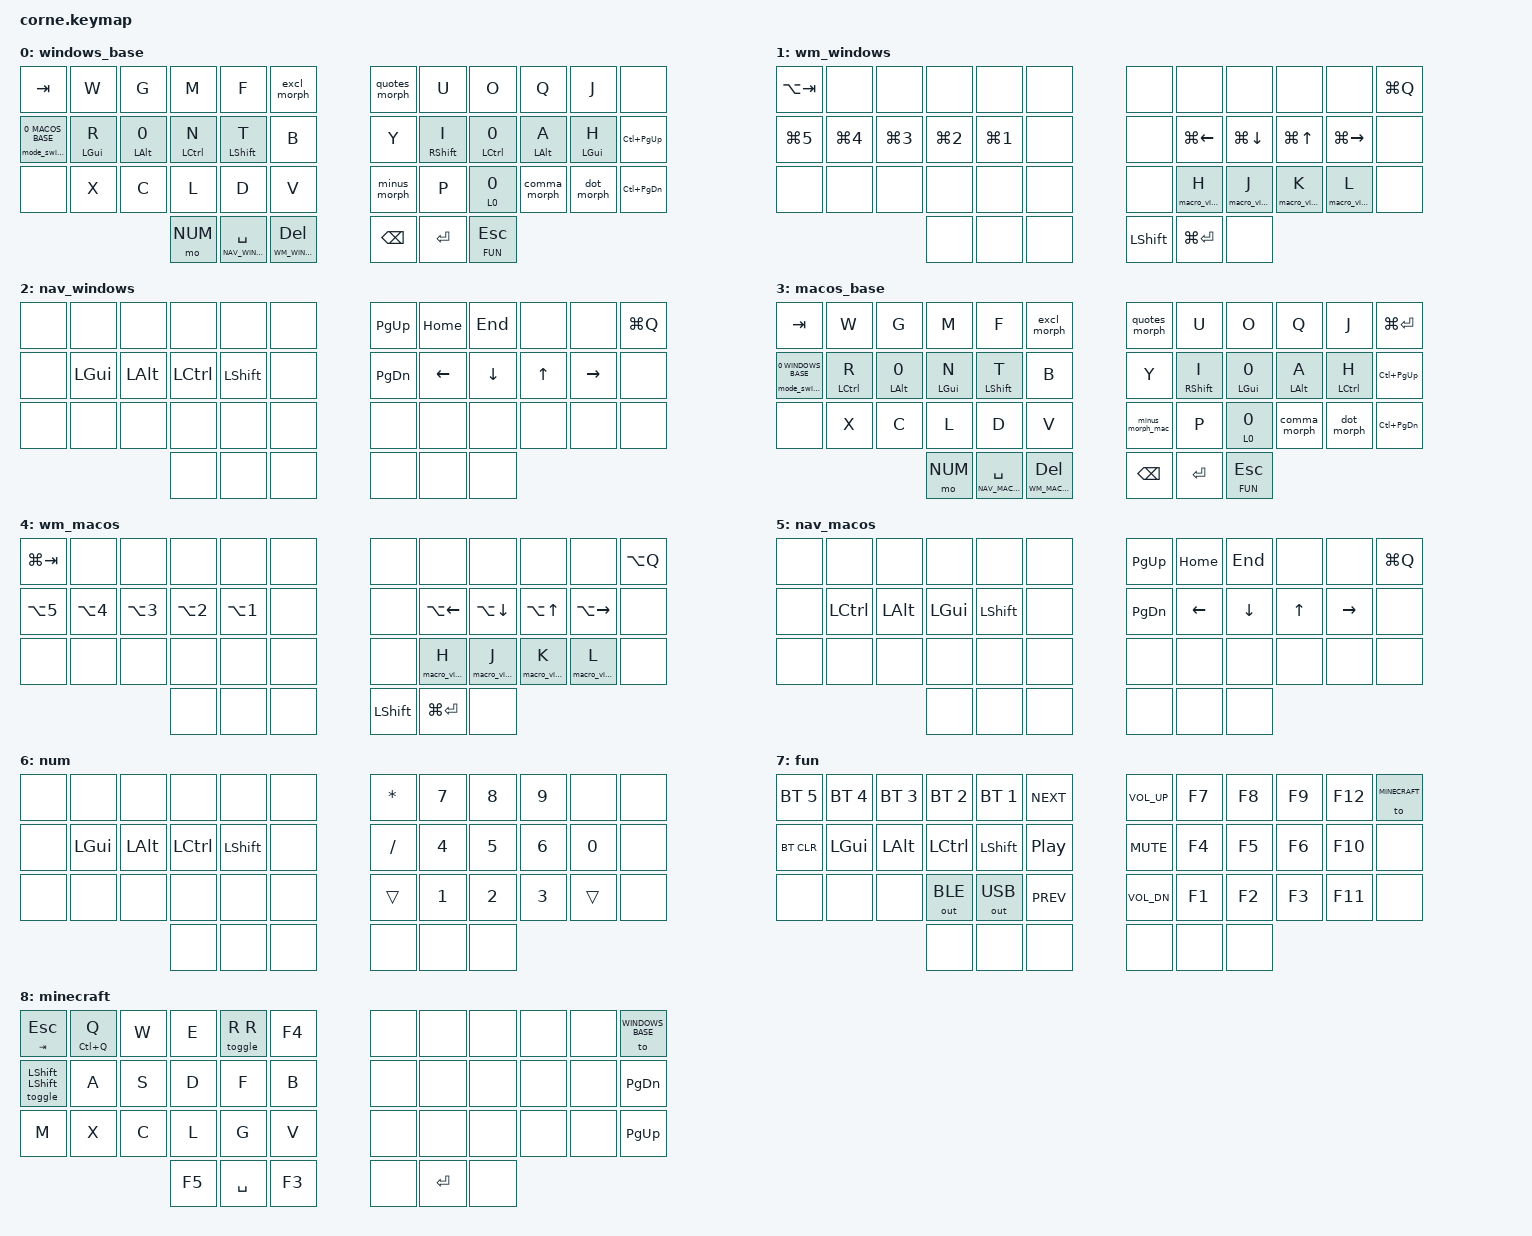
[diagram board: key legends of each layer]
/*
 * Copyright (c) 2020 The ZMK Contributors
 *
 * SPDX-License-Identifier: MIT
 */
// https://github.com/urob/zmk-config#timeless-homerow-mods
// troubleshooting : https://github.com/urob/zmk-config#troubleshooting

#include <behaviors.dtsi>
#include <dt-bindings/zmk/keys.h>
#include "accents.dtsi"
#include "keys_fr.h"
#include "zmk-helpers/helper.h"
#include "zmk-helpers/key-labels/42.h"
#include "zmk-helpers/unicode-chars/french.dtsi"
#include <dt-bindings/zmk/bt.h>
#define _BT_SEL_KEYS_ &bt BT_SEL 0 &bt BT_SEL 1 &bt BT_SEL 2 &bt BT_SEL 3 &bt BT_CLR
#include <dt-bindings/zmk/rgb.h>
#include <dt-bindings/zmk/ext_power.h>
#include <dt-bindings/zmk/outputs.h>
#include <../boards/shields/corne/boards/nice_nano.overlay>

// Overwrite number of leds on the keyboard. A Corne has 27 per side.
&led_strip { chain-length = <27>; };

#define WINDOWS_BASE 0
#define WM_WINDOWS 1
#define NAV_WINDOWS 2
#define MACOS_BASE 3
#define WM_MACOS 4
#define NAV_MACOS 5
#define NUM 6
#define FUN 7
#define MINECRAFT 8


#define XXX &none
#define ___ &trans
#define MACOS_GRAVE NUBS
#define MACOS_NUBS GRAVE

/* Global settings */

#define QUICK_TAP_MS 175

ZMK_BEHAVIOR(ht, hold_tap,
    flavor = "balanced";
    tapping-term-ms = <200>;
    quick-tap-ms = <QUICK_TAP_MS>;
    bindings = <&kp>, <&kp>;
)

// reuse basic mod-morph scheme
#define SIMPLE_MORPH(NAME, MOD, BINDING1, BINDING2) \
    ZMK_BEHAVIOR(NAME, mod_morph, \
        mods = <(MOD_L ## MOD|MOD_R ## MOD)>; \
        bindings = <BINDING1>, <BINDING2>; \
    )
//tap: / | shift + tap: |  | ctrl + tap: "\"

SIMPLE_MORPH(slh_inner_morph, CTL, &kp PIPE, &kp BSLH)
ZMK_BEHAVIOR(slh_morph, mod_morph,
    mods = <(MOD_LCTL|MOD_RCTL|MOD_LSFT|MOD_RSFT)>; \
    bindings = <&kp FSLH>, <&slh_inner_morph>; \
)

// tap: question mark | shift + tap : exclamation
SIMPLE_MORPH(excl_morph, SFT, &kp QMARK, &kp EXCL)

// tap: ' | shift + tap: "
ZMK_BEHAVIOR(macro_sqt, macro,
    tap-ms = <10>;
    bindings = <&macro_tap &kp SQT &kp SPACE>;
)ZMK_BEHAVIOR(macro_dqt, macro,
    tap-ms = <10>;
    bindings = <&macro_tap &kp DQT &kp SPACE>;
)
ZMK_BEHAVIOR(macro_bqt_win, macro,
    tap-ms = <10>;
    bindings = <&macro_tap &kp GRAVE &kp SPACE>;
)
ZMK_BEHAVIOR(macro_bqt_mac, macro,
    tap-ms = <10>;
    bindings = <&macro_tap &kp MACOS_GRAVE &kp SPACE>;
)

// macOS accent macros
ZMK_BEHAVIOR(macro_eacu_mac, macro,
    tap-ms = <10>;
    bindings = <&macro_tap &kp SQT &kp E>;
)

ZMK_BEHAVIOR(macro_egrv_mac, macro,
    tap-ms = <10>;
    bindings = <&macro_tap &kp MACOS_GRAVE &kp E>;
)

ZMK_BEHAVIOR(macro_agrv_mac, macro,
    tap-ms = <10>;
    bindings = <&macro_tap &kp MACOS_GRAVE &kp A>;
)

ZMK_BEHAVIOR(macro_ugrv_mac, macro,
    tap-ms = <10>;
    bindings = <&macro_tap &kp MACOS_GRAVE &kp U>;
)

ZMK_BEHAVIOR(macro_cced_mac, macro,
    tap-ms = <10>;
    bindings = <&macro_tap &kp LA(C)>;
)

ZMK_BEHAVIOR(macro_tilde_mac, macro,
    tap-ms = <10>;
    bindings = <&macro_tap &kp MACOS_GRAVE &kp SPACE>;
)

SIMPLE_MORPH(quotes_morph, SFT, &macro_sqt, &macro_dqt)

// tap: S | alt + tap: $
SIMPLE_MORPH(s_morph, ALT, &kp S, &kp DOLLAR)

// tap: E | alt + tap: € (Windows)
SIMPLE_MORPH(e_morph, ALT, &kp E, &kp US_EURO)

// tap: E | alt + tap: € (macOS using Option+Shift+2)
SIMPLE_MORPH(e_morph_mac, ALT, &kp E, &kp RA(LS(N2)))

// tap: comma | shift + tap: semicolon
SIMPLE_MORPH(comma_morph, SFT, &kp COMMA, &kp SEMICOLON)

// tap: dot | shift + tap: colon
SIMPLE_MORPH(dot_morph, SFT, &kp DOT, &kp COLON)

// tap : () | shift + tap : {} | ctrl + tap : []
SIMPLE_MORPH(all_paro1, ALT, &kp LBRC, &kp LBKT)
ZMK_BEHAVIOR(all_paro, mod_morph,
    mods = <(MOD_LALT|MOD_RALT|MOD_LSFT|MOD_RSFT)>; \
    bindings = <&kp LPAR>, <&all_paro1>; \
)
SIMPLE_MORPH(all_parf1, ALT, &kp RBRC, &kp RBKT)
ZMK_BEHAVIOR(all_parf, mod_morph,
    mods = <(MOD_LALT|MOD_RALT|MOD_LSFT|MOD_RSFT)>; \
    bindings = <&kp RPAR>, <&all_parf1>; \
)
// hold : parenthesis close | tap : parenthesis open
ZMK_BEHAVIOR(ht_par, hold_tap,
    flavor = "balanced";
    tapping-term-ms = <280>;
    quick-tap-ms = <QUICK_TAP_MS>;
    bindings = <&all_parf>, <&all_paro>;
)

// hold : CAPS | tap : caps_word
ZMK_BEHAVIOR(ht_caps, hold_tap,
    flavor = "balanced";
    tapping-term-ms = <280>;
    quick-tap-ms = <QUICK_TAP_MS>;
    bindings = <&kp>, <&caps_word>;
)

// Windows-specific combos
ZMK_COMBO(cut_win, &kp LC(X), LB4 LB2, WINDOWS_BASE WM_WINDOWS NAV_WINDOWS NUM FUN MINECRAFT)
ZMK_COMBO(copy_win, &kp LC(C), LB4 LB3, WINDOWS_BASE WM_WINDOWS NAV_WINDOWS NUM FUN MINECRAFT)
ZMK_COMBO(paste_win, &kp LC(V), LB3 LB2, WINDOWS_BASE WM_WINDOWS NAV_WINDOWS NUM FUN MINECRAFT)
ZMK_COMBO(undo_win, &kp LC(Z), LB4 LB1, WINDOWS_BASE WM_WINDOWS NAV_WINDOWS NUM FUN MINECRAFT)
ZMK_COMBO(redo_win, &kp LC(Y), LB4 LB0, WINDOWS_BASE WM_WINDOWS NAV_WINDOWS NUM FUN MINECRAFT)
ZMK_COMBO(save_win, &kp LC(S), LM1 LM0, WINDOWS_BASE WM_WINDOWS NAV_WINDOWS NUM FUN MINECRAFT)
ZMK_COMBO(select_all_win, &kp LC(A), LM3 LM4, WINDOWS_BASE WM_WINDOWS NAV_WINDOWS NUM FUN MINECRAFT)
ZMK_COMBO(replace_win, &kp LC(H), LT1 LT2, WINDOWS_BASE WM_WINDOWS NAV_WINDOWS NUM FUN MINECRAFT)

// macOS-specific combos
ZMK_COMBO(cut_mac, &kp LG(X), LB4 LB2, MACOS_BASE WM_MACOS NAV_MACOS)
ZMK_COMBO(copy_mac, &kp LG(C), LB4 LB3, MACOS_BASE WM_MACOS NAV_MACOS)
ZMK_COMBO(paste_mac, &kp LG(V), LB3 LB2, MACOS_BASE WM_MACOS NAV_MACOS)
ZMK_COMBO(undo_mac, &kp LG(Z), LB4 LB1, MACOS_BASE WM_MACOS NAV_MACOS)
ZMK_COMBO(redo_mac, &kp LG(Y), LB4 LB0, MACOS_BASE WM_MACOS NAV_MACOS)
ZMK_COMBO(save_mac, &kp LG(S), LM1 LM0, MACOS_BASE WM_MACOS NAV_MACOS)
ZMK_COMBO(select_all_mac, &kp LG(A), LM3 LM4, MACOS_BASE WM_MACOS NAV_MACOS)

// Shared combos
ZMK_COMBO(caps, &ht_caps CAPS 0, LM1 RM1, ALL)


// tap: < | shift + tap: > | hold: <>
SIMPLE_MORPH(chevrons_morph, SFT, &kp LT, &kp GT)
ZMK_BEHAVIOR(macro_chevrons, macro,
    tap-ms = <10>;
    bindings = <&macro_tap &kp LT &kp GT &kp LEFT>;
)
ZMK_BEHAVIOR(ht_chevrons_morph, hold_tap,
    flavor = "balanced";
    tapping-term-ms = <280>;
    quick-tap-ms = <QUICK_TAP_MS>;
    bindings = <&macro_chevrons>, <&chevrons_morph>;
)
ZMK_COMBO(chevrons, &ht_chevrons_morph 0 0, RB3 RB4, ALL)
ZMK_COMBO(slash, &slh_morph, LT1 LT0, ALL)
ZMK_COMBO(star, &kp STAR, RB0 RB4, ALL)
ZMK_COMBO(at, &kp AT, LM1 RM3, ALL)
ZMK_COMBO(hash, &kp HASH, RB2 RB3, ALL)
ZMK_COMBO(prc, &kp PERCENT, RB1 RB2, ALL)
ZMK_COMBO(and, &kp AMPS, LM1 RM2, ALL)

// tap: = | hold: !=
ZMK_BEHAVIOR(macro_diff, macro,
    tap-ms = <10>;
    bindings = <&macro_tap &kp EXCL &kp EQUAL>;
)
ZMK_BEHAVIOR(ht_equal, hold_tap,
    flavor = "balanced";
    tapping-term-ms = <280>;
    quick-tap-ms = <QUICK_TAP_MS>;
    bindings = <&macro_diff>, <&kp>;
)
ZMK_COMBO(equal_diff, &ht_equal 0 EQUAL, RB0 RB1, ALL)
// Windows-specific accents
ZMK_COMBO(eacu_win, &kp US_EACU, RM1 RM2, WINDOWS_BASE WM_WINDOWS NAV_WINDOWS NUM FUN MINECRAFT)
ZMK_COMBO(egrv_win, &ac_egrv, RM2 RM3, WINDOWS_BASE WM_WINDOWS NAV_WINDOWS NUM FUN MINECRAFT)
ZMK_COMBO(ecir_win, &ac_ecir, RT2 RM2, WINDOWS_BASE WM_WINDOWS NAV_WINDOWS NUM FUN MINECRAFT)
ZMK_COMBO(agrv_win, &ac_agrv, RT2 RM3, WINDOWS_BASE WM_WINDOWS NAV_WINDOWS NUM FUN MINECRAFT)
ZMK_COMBO(cced_win, &kp US_CCED, LM3 LM2, WINDOWS_BASE WM_WINDOWS NAV_WINDOWS NUM FUN MINECRAFT)
ZMK_COMBO(combo_u_grave_win, &ac_ugrv, RT0 RT1, WINDOWS_BASE WM_WINDOWS NAV_WINDOWS NUM FUN MINECRAFT)
ZMK_COMBO(combo_dqt_win, &macro_bqt_win, RT0 RM0, WINDOWS_BASE WM_WINDOWS NAV_WINDOWS NUM FUN MINECRAFT)  // ' + Y for `

// macOS-specific accents
ZMK_COMBO(eacu_mac, &macro_eacu_mac, RM1 RM2, MACOS_BASE WM_MACOS NAV_MACOS)
ZMK_COMBO(egrv_mac, &macro_egrv_mac, RM2 RM3, MACOS_BASE WM_MACOS NAV_MACOS)
ZMK_COMBO(ecir_mac, &ac_ecir, RT2 RM2, MACOS_BASE WM_MACOS NAV_MACOS)  // Keep existing for ê
ZMK_COMBO(agrv_mac, &macro_agrv_mac, RT2 RM3, MACOS_BASE WM_MACOS NAV_MACOS)
ZMK_COMBO(cced_mac, &macro_cced_mac, LM3 LM2, MACOS_BASE WM_MACOS NAV_MACOS)
ZMK_COMBO(combo_u_grave_mac, &macro_ugrv_mac, RT0 RT1, MACOS_BASE WM_MACOS NAV_MACOS)
ZMK_COMBO(combo_dqt_mac, &macro_bqt_mac, RT0 RM0, MACOS_BASE WM_MACOS NAV_MACOS)  // ' + Y for `

// Shared combos
ZMK_COMBO(circ, &kp CARET, LB2 LB1, ALL)
ZMK_COMBO(trema, &kp DQT, LM2 LM1, ALL)
ZMK_COMBO(combo_k, &kp K, RT2 RT3, ALL)  // O + Q for K
ZMK_COMBO(combo_z, &kp Z, RM3 RM4, ALL)  // A + H for Z

// left-hand keys
#define KEYS_L LT0 LT1 LT2 LT3 LT4 LT5 LM0 LM1 LM2 LM3 LM4 LM5 LB0 LB1 LB2 LB3 LB4 LB5 
// right-hand keys
#define KEYS_R RT0 RT1 RT2 RT3 RT4 RT5 RM0 RM1 RM2 RM3 RM4 RM5 RB0 RB1 RB2 RB3 RB4 RB5  
// thumb keys
#define THUMBS LH2 LH1 LH0 RH0 RH1 RH2                                      


#define MAKE_HRM(NAME, HOLD, TAP, TRIGGER_POS) \
    ZMK_BEHAVIOR(NAME, hold_tap, \
        flavor = "balanced"; \
        tapping-term-ms = <280>; \
        quick-tap-ms = <QUICK_TAP_MS>; \
        require-prior-idle-ms = <150>; \
        bindings = <HOLD>, <TAP>; \
        hold-trigger-key-positions = <TRIGGER_POS>; \
        hold-trigger-on-release; \
    )

// left-hand HRMs
MAKE_HRM(hml, &kp, &kp, KEYS_R THUMBS)

// right-hand HRMs
MAKE_HRM(hmr, &kp, &kp, KEYS_L THUMBS)

MAKE_HRM(hml_s, &kp, &s_morph, KEYS_R THUMBS)
MAKE_HRM(hmr_e, &kp, &e_morph, KEYS_L THUMBS)

// macOS version for E key (euro symbol)
MAKE_HRM(hmr_e_mac, &kp, &e_morph_mac, KEYS_L THUMBS)

// tap: minus | alt + tap: tilde
SIMPLE_MORPH(minus_morph, ALT, &kp MINUS, &kp TILDE)

// macOS version: minus | alt + tap: tilde via Option+N+Space
SIMPLE_MORPH(minus_morph_mac, ALT, &kp MINUS, &macro_tilde_mac)

ZMK_BEHAVIOR(lt_cstm, hold_tap,
    flavor = "balanced";
    tapping-term-ms = <200>;
    quick-tap-ms = <QUICK_TAP_MS>;
    bindings = <&mo>, <&kt>;
)

ZMK_BEHAVIOR(macro_vimw_win, macro_one_param,
    wait-ms = <100>;
    tap-ms = <5>;
    bindings = <&kp LC(W)>, <&macro_param_1to1>, <&kp MACRO_PLACEHOLDER>;
)

ZMK_BEHAVIOR(macro_vimw_mac, macro_one_param,
    wait-ms = <100>;
    tap-ms = <5>;
    bindings = <&kp LC(W)>, <&macro_param_1to1>, <&kp MACRO_PLACEHOLDER>;
)

ZMK_BEHAVIOR(macro_mode_windows, macro,
    tap-ms = <10>;
    bindings = <&macro_tap &kp W &kp I &kp N &kp D &kp O &kp W &kp S>;
)

ZMK_BEHAVIOR(macro_mode_macos, macro,
    tap-ms = <10>;
    bindings = <&macro_tap &kp M &kp A &kp C &kp O &kp S>;
)

ZMK_BEHAVIOR(mode_switch_windows, hold_tap,
    flavor = "balanced";
    tapping-term-ms = <280>;
    quick-tap-ms = <QUICK_TAP_MS>;
    bindings = <&macro_mode_windows>, <&to>;
)

ZMK_BEHAVIOR(mode_switch_macos, hold_tap,
    flavor = "balanced";
    tapping-term-ms = <280>;
    quick-tap-ms = <QUICK_TAP_MS>;
    bindings = <&macro_mode_macos>, <&to>;
)


ZMK_LAYER(windows_base,
//╭───────────────────────────┬─────────────┬─────────────┬─────────────┬─────────────┬─────────────╮ ╭─────────────┬─────────────┬─────────────┬─────────────┬─────────────┬─────────────╮
    &kp TAB                       &kp W         &kp G         &kp M         &kp F      &excl_morph     &quotes_morph   &kp U         &kp O         &kp Q         &kp J        XXX
//├───────────────────────────┼─────────────┼─────────────┼─────────────┼─────────────┼─────────────┤ ├─────────────┼─────────────┼─────────────┼─────────────┼─────────────┼─────────────┤
    &mode_switch_windows 0 MACOS_BASE &hml LGUI R   &hml_s LALT 0   &hml LCTRL N  &hml LSHFT T   &kp B        &kp Y         &hmr RSHFT I  &hmr_e LCTRL 0  &hmr LALT A  &hmr LGUI H  &kp LC(PG_UP)
//├───────────────────────────┼─────────────┼─────────────┼─────────────┼─────────────┼─────────────┤ ├─────────────┼─────────────┼─────────────┼─────────────┼─────────────┼─────────────┤
    XXX                          &kp X         &kp C         &kp L         &kp D         &kp V           &minus_morph    &kp P     &ht_par 0 0    &comma_morph  &dot_morph    &kp LC(PG_DN)
//╰───────────────────────────┴─────────────┴─────────────┼─────────────┼─────────────┼─────────────┤ ├─────────────┼─────────────┼─────────────┼─────────────┴─────────────┴─────────────╯
                                                               &mo NUM    &lt NAV_WINDOWS SPACE &lt WM_WINDOWS DEL      &kp BSPC     &kp RET       &lt FUN ESC                                            
//                                                        ╰─────────────┴─────────────┴─────────────╯ ╰─────────────┴─────────────┴─────────────╯                                          
)
ZMK_LAYER(wm_windows,
//╭─────────────┬─────────────┬─────────────┬─────────────┬─────────────┬─────────────╮ ╭─────────────┬─────────────┬─────────────┬─────────────┬─────────────┬─────────────╮
    &kp LA(TAB)   XXX           XXX           XXX           XXX            XXX             XXX           XXX           XXX           XXX           XXX             &kp LG(Q)
//├─────────────┼─────────────┼─────────────┼─────────────┼─────────────┼─────────────┤ ├─────────────┼─────────────┼─────────────┼─────────────┼─────────────┼─────────────┤
    &kp LG(N5)    &kp LG(N4)    &kp LG(N3)    &kp LG(N2)    &kp LG(N1)     XXX             XXX          &kp LG(LEFT)  &kp LG(DOWN)  &kp LG(UP)    &kp LG(RIGHT)   XXX
//├─────────────┼─────────────┼─────────────┼─────────────┼─────────────┼─────────────┤ ├─────────────┼─────────────┼─────────────┼─────────────┼─────────────┼─────────────┤
    XXX           XXX           XXX           XXX           XXX           XXX             XXX          &macro_vimw_win H &macro_vimw_win J &macro_vimw_win K &macro_vimw_win L XXX       
//╰─────────────┴─────────────┴─────────────┼─────────────┼─────────────┼─────────────┤ ├─────────────┼─────────────┼─────────────┼─────────────┴─────────────┴─────────────╯
                                              XXX           XXX           XXX            &kp LSHIFT     &kp LG(RET)         XXX                                              
//                                          ╰─────────────┴─────────────┴─────────────╯ ╰─────────────┴─────────────┴─────────────╯                                          
)

ZMK_LAYER(nav_windows,
//╭─────────────┬─────────────┬─────────────┬─────────────┬─────────────┬─────────────╮ ╭─────────────┬─────────────┬─────────────┬─────────────┬─────────────┬─────────────╮
    XXX           XXX           XXX           XXX           XXX           XXX             &kp PG_UP     &kp HOME      &kp END       XXX           XXX             &kp LG(Q) 
//├─────────────┼─────────────┼─────────────┼─────────────┼─────────────┼─────────────┤ ├─────────────┼─────────────┼─────────────┼─────────────┼─────────────┼─────────────┤
    XXX          &kp LGUI       &kp LALT     &kp LCTRL     &kp LSHIFT     XXX             &kp PG_DN    &kp LEFT       &kp DOWN      &kp UP        &kp RIGHT      XXX  
//├─────────────┼─────────────┼─────────────┼─────────────┼─────────────┼─────────────┤ ├─────────────┼─────────────┼─────────────┼─────────────┼─────────────┼─────────────┤
    XXX           XXX           XXX           XXX           XXX           XXX             XXX           XXX           XXX           XXX           XXX           XXX       
//╰─────────────┼─────────────┴─────────────┼─────────────┼─────────────┼─────────────┤ ├─────────────┼─────────────┼─────────────┼─────────────┴─────────────┴─────────────╯
                                              XXX           XXX           XXX             XXX           XXX           XXX
//                                          ╰─────────────┴─────────────┴─────────────╯ ╰─────────────┴─────────────┴─────────────╯
)


ZMK_LAYER(macos_base,
//╭─────────────────────────────┬─────────────┬─────────────┬─────────────┬─────────────┬─────────────╮ ╭─────────────┬─────────────┬─────────────┬─────────────┬─────────────┬─────────────╮
    &kp TAB                      &kp W         &kp G         &kp M         &kp F         &excl_morph     &quotes_morph   &kp U         &kp O         &kp Q         &kp J        &kp LG(RET)
//├─────────────────────────────┼─────────────┼─────────────┼─────────────┼─────────────┼─────────────┤ ├─────────────┼─────────────┼─────────────┼─────────────┼─────────────┼─────────────┤
    &mode_switch_macos 0 WINDOWS_BASE &hml LCTRL R   &hml_s LALT 0   &hml LGUI N  &hml LSHFT T   &kp B    &kp Y         &hmr RSHFT I  &hmr_e_mac LGUI 0  &hmr LALT A  &hmr LCTRL H  &kp LC(PG_UP)
//├─────────────────────────────┼─────────────┼─────────────┼─────────────┼─────────────┼─────────────┤ ├─────────────┼─────────────┼─────────────┼─────────────┼─────────────┼─────────────┤
    XXX                           &kp X         &kp C         &kp L         &kp D         &kp V           &minus_morph_mac    &kp P     &ht_par 0 0    &comma_morph  &dot_morph    &kp LC(PG_DN)
//╰─────────────────────────────┼─────────────┴─────────────┼─────────────┼─────────────┼─────────────┤ ├─────────────┼─────────────┼─────────────┼─────────────┴─────────────┴─────────────╯
                                                              &mo NUM      &lt NAV_MACOS SPACE &lt WM_MACOS DEL      &kp BSPC     &kp RET       &lt FUN ESC
//                                                          ╰─────────────┴─────────────┴─────────────╯ ╰─────────────┴─────────────┴─────────────╯
)

ZMK_LAYER(wm_macos,
//╭─────────────┬─────────────┬─────────────┬─────────────┬─────────────┬─────────────╮ ╭─────────────┬─────────────┬─────────────┬─────────────┬─────────────┬─────────────╮
    &kp LG(TAB)   XXX           XXX           XXX           XXX            XXX             XXX           XXX           XXX           XXX           XXX             &kp LA(Q)
//├─────────────┼─────────────┼─────────────┼─────────────┼─────────────┼─────────────┤ ├─────────────┼─────────────┼─────────────┼─────────────┼─────────────┼─────────────┤
    &kp LA(N5)    &kp LA(N4)    &kp LA(N3)    &kp LA(N2)    &kp LA(N1)     XXX             XXX          &kp LA(LEFT)  &kp LA(DOWN)  &kp LA(UP)    &kp LA(RIGHT)   XXX
//├─────────────┼─────────────┼─────────────┼─────────────┼─────────────┼─────────────┤ ├─────────────┼─────────────┼─────────────┼─────────────┼─────────────┼─────────────┤
    XXX           XXX           XXX           XXX           XXX           XXX             XXX          &macro_vimw_mac H &macro_vimw_mac J &macro_vimw_mac K &macro_vimw_mac L XXX
//╰─────────────┴─────────────┴─────────────┼─────────────┼─────────────┼─────────────┤ ├─────────────┼─────────────┼─────────────┼─────────────┴─────────────┴─────────────╯
                                              XXX           XXX           XXX            &kp LSHIFT     &kp LG(RET)         XXX
//                                          ╰─────────────┴─────────────┴─────────────╯ ╰─────────────┴─────────────┴─────────────╯
)

ZMK_LAYER(nav_macos,
//╭─────────────┬─────────────┬─────────────┬─────────────┬─────────────┬─────────────╮ ╭─────────────┬─────────────┬─────────────┬─────────────┬─────────────┬─────────────╮
    XXX           XXX           XXX           XXX           XXX           XXX             &kp PG_UP     &kp HOME     &kp END        XXX           XXX             &kp LG(Q)
//├─────────────┼─────────────┼─────────────┼─────────────┼─────────────┼─────────────┤ ├─────────────┼─────────────┼─────────────┼─────────────┼─────────────┼─────────────┤
    XXX          &kp LCTRL      &kp LALT     &kp LGUI      &kp LSHIFT     XXX             &kp PG_DN    &kp LEFT       &kp DOWN      &kp UP        &kp RIGHT      XXX
//├─────────────┼─────────────┼─────────────┼─────────────┼─────────────┼─────────────┤ ├─────────────┼─────────────┼─────────────┼─────────────┼─────────────┼─────────────┤
    XXX           XXX           XXX           XXX           XXX           XXX             XXX           XXX           XXX           XXX           XXX           XXX
//╰─────────────┼─────────────┴─────────────┼─────────────┼─────────────┼─────────────┤ ├─────────────┼─────────────┼─────────────┼─────────────┴─────────────┴─────────────╯
                                              XXX           XXX           XXX             XXX           XXX           XXX
//                                          ╰─────────────┴─────────────┴─────────────╯ ╰─────────────┴─────────────┴─────────────╯
)

ZMK_LAYER(num,
//╭─────────────┬─────────────┬─────────────┬─────────────┬─────────────┬─────────────╮ ╭─────────────┬─────────────┬─────────────┬─────────────┬─────────────┬─────────────╮
    XXX           XXX           XXX           XXX           XXX           XXX             &kp STAR      &kp N7        &kp N8        &kp N9         XXX          XXX          
//├─────────────┼─────────────┼─────────────┼─────────────┼─────────────┼─────────────┤ ├─────────────┼─────────────┼─────────────┼─────────────┼─────────────┼─────────────┤
    XXX          &kp LGUI       &kp LALT     &kp LCTRL     &kp LSHIFT     XXX             &kp FSLH      &kp N4        &kp N5         &kp N6        &kp N0         XXX  
//├─────────────┼─────────────┼─────────────┼─────────────┼─────────────┼─────────────┤ ├─────────────┼─────────────┼─────────────┼─────────────┼─────────────┼─────────────┤
    XXX           XXX           XXX           XXX           XXX           XXX             ___          &kp N1         &kp N2        &kp N3         ___           XXX       
//╰─────────────┼─────────────┴─────────────┼─────────────┼─────────────┼─────────────┤ ├─────────────┼─────────────┼─────────────┼─────────────┴─────────────┴─────────────╯
                                              XXX           XXX           XXX             XXX           XXX           XXX                                              
//                                          ╰─────────────┴─────────────┴─────────────╯ ╰─────────────┴─────────────┴─────────────╯                                          
)

ZMK_BEHAVIOR(tg_bt, hold_tap,
    flavor = "balanced";
    tapping-term-ms = <200>;
    quick-tap-ms = <QUICK_TAP_MS>;
    bindings = <&bt>, <&bt>;
)

ZMK_LAYER(fun,
//╭─────────────┬─────────────┬─────────────┬─────────────┬─────────────┬─────────────╮ ╭─────────────┬─────────────┬─────────────┬─────────────┬─────────────┬─────────────╮
    &bt BT_SEL 5 &bt BT_SEL 4  &bt BT_SEL 3  &bt BT_SEL 2   &bt BT_SEL 1 &kp C_NEXT       &kp C_VOL_UP   &kp F7        &kp F8        &kp F9        &kp F12      &to MINECRAFT          
//├─────────────┼─────────────┼─────────────┼─────────────┼─────────────┼─────────────┤ ├─────────────┼─────────────┼─────────────┼─────────────┼─────────────┼─────────────┤
    &bt BT_CLR    &kp LGUI      &kp LALT      &kp LCTRL    &kp LSHIFT    &kp C_PP         &kp C_MUTE    &kp F4        &kp F5         &kp F6       &kp F10      XXX  
//├─────────────┼─────────────┼─────────────┼─────────────┼─────────────┼─────────────┤ ├─────────────┼─────────────┼─────────────┼─────────────┼─────────────┼─────────────┤
    XXX           XXX           XXX           &out OUT_BLE &out OUT_USB &kp C_PREV       &kp C_VOL_DN &kp F1         &kp F2        &kp F3        &kp F11      XXX       
//╰─────────────┼─────────────┴─────────────┼─────────────┼─────────────┼─────────────┤ ├─────────────┼─────────────┼─────────────┼─────────────┴─────────────┴─────────────╯
                                              XXX           XXX           XXX             XXX           XXX           XXX                                              
//                                          ╰─────────────┴─────────────┴─────────────╯ ╰─────────────┴─────────────┴─────────────╯                                          
)



ZMK_BEHAVIOR(toggle, hold_tap,
    flavor = "balanced";
    tapping-term-ms = <200>;
    quick-tap-ms = <QUICK_TAP_MS>;
    bindings = <&kp>, <&kt>;
)




ZMK_LAYER(minecraft,
//╭─────────────┬─────────────┬─────────────┬─────────────┬─────────────┬─────────────╮ ╭─────────────┬─────────────┬─────────────┬─────────────┬─────────────┬─────────────╮
    &ht TAB ESC   &ht LC(Q) Q    &kp W        &kp E        &toggle R R    &kp F4          XXX           XXX           XXX           XXX           XXX           &to WINDOWS_BASE
//├─────────────┼─────────────┼─────────────┼─────────────┼─────────────┼─────────────┤ ├─────────────┼─────────────┼─────────────┼─────────────┼─────────────┼─────────────┤
    &toggle LSHFT LSHFT &kp A    &kp S        &kp D         &kp F         &kp B           XXX           XXX           XXX           XXX           XXX           &kp PG_DN
//├─────────────┼─────────────┼─────────────┼─────────────┼─────────────┼─────────────┤ ├─────────────┼─────────────┼─────────────┼─────────────┼─────────────┼─────────────┤
    &kp M         &kp X          &kp C         &kp L        &kp G         &kp V           XXX           XXX           XXX           XXX           XXX           &kp PG_UP
//╰─────────────┼─────────────┴─────────────┼─────────────┼─────────────┼─────────────┤ ├─────────────┼─────────────┼─────────────┼─────────────┴─────────────┴─────────────╯
                                              &kp F5        &kp SPACE     &kp F3          XXX           &kp RET       XXX
//                                          ╰─────────────┴─────────────┴─────────────╯ ╰─────────────┴─────────────┴─────────────╯
)


